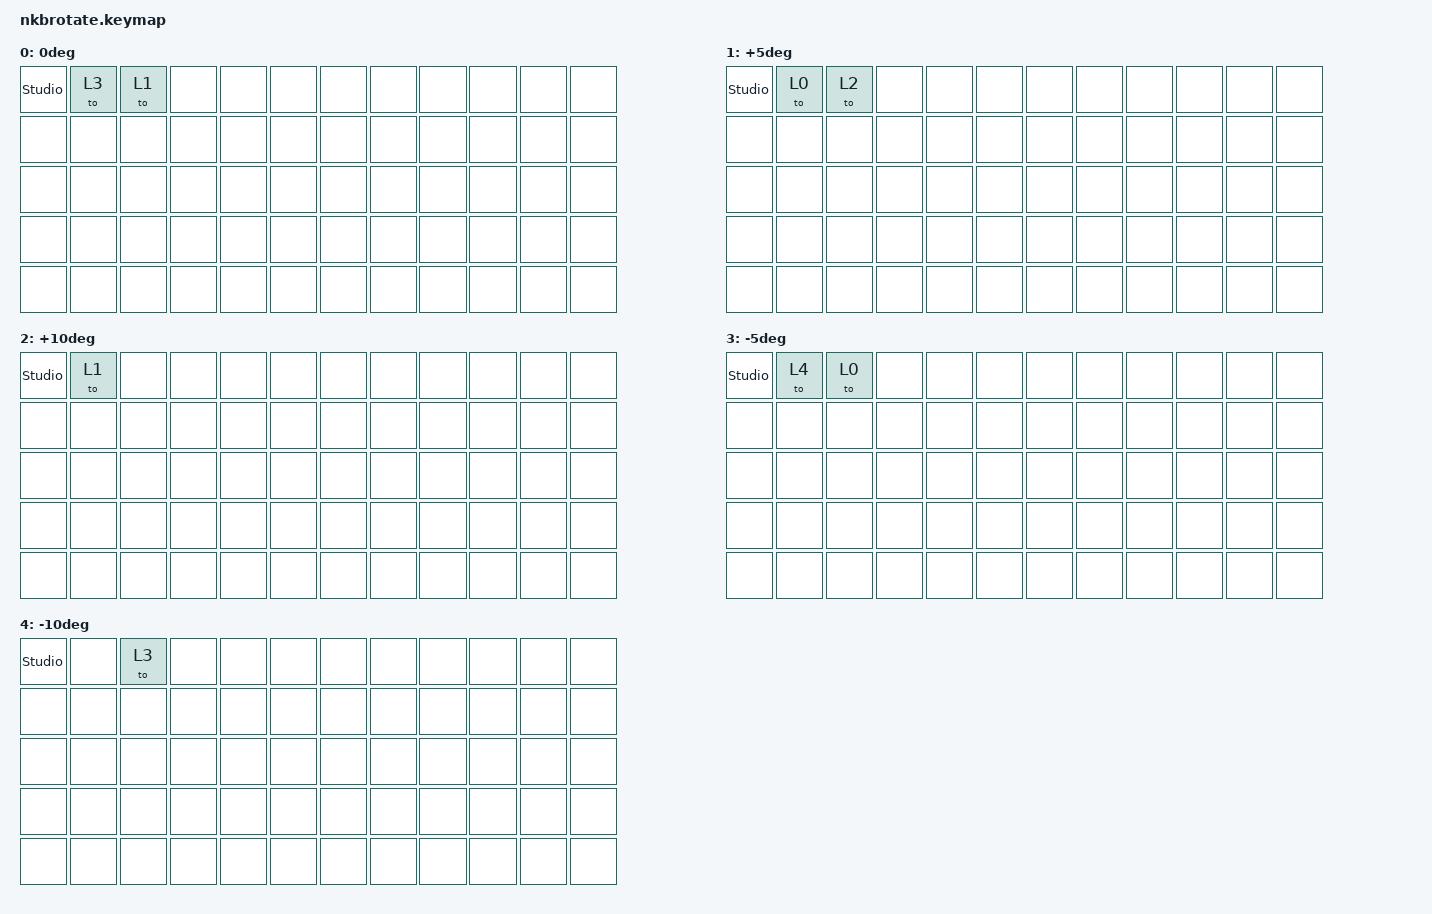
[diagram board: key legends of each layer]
/* Rotation angle presets. key0 = studio_unlock, key1 = CCW (more -), key2 = CW (more +).
   Layers: L0=0 L1=+5 L2=+10 L3=-5 L4=-10. Starts at 0. */
#include <behaviors.dtsi>
#include <dt-bindings/zmk/keys.h>

/ {
    keymap {
        compatible = "zmk,keymap";
        deg0 {
            display-name = "0deg";
            bindings = <
   &studio_unlock &to 3 &to 1 &none &none &none &none &none &none &none &none &none
   &none &none &none &none &none &none &none &none &none &none &none &none
   &none &none &none &none &none &none &none &none &none &none &none &none
   &none &none &none &none &none &none &none &none &none &none &none &none
   &none &none &none &none &none &none &none &none &none &none &none &none
            >;
        };
        degp5 {
            display-name = "+5deg";
            bindings = <
   &studio_unlock &to 0 &to 2 &none &none &none &none &none &none &none &none &none
   &none &none &none &none &none &none &none &none &none &none &none &none
   &none &none &none &none &none &none &none &none &none &none &none &none
   &none &none &none &none &none &none &none &none &none &none &none &none
   &none &none &none &none &none &none &none &none &none &none &none &none
            >;
        };
        degp10 {
            display-name = "+10deg";
            bindings = <
   &studio_unlock &to 1 &none &none &none &none &none &none &none &none &none &none
   &none &none &none &none &none &none &none &none &none &none &none &none
   &none &none &none &none &none &none &none &none &none &none &none &none
   &none &none &none &none &none &none &none &none &none &none &none &none
   &none &none &none &none &none &none &none &none &none &none &none &none
            >;
        };
        degm5 {
            display-name = "-5deg";
            bindings = <
   &studio_unlock &to 4 &to 0 &none &none &none &none &none &none &none &none &none
   &none &none &none &none &none &none &none &none &none &none &none &none
   &none &none &none &none &none &none &none &none &none &none &none &none
   &none &none &none &none &none &none &none &none &none &none &none &none
   &none &none &none &none &none &none &none &none &none &none &none &none
            >;
        };
        degm10 {
            display-name = "-10deg";
            bindings = <
   &studio_unlock &none &to 3 &none &none &none &none &none &none &none &none &none
   &none &none &none &none &none &none &none &none &none &none &none &none
   &none &none &none &none &none &none &none &none &none &none &none &none
   &none &none &none &none &none &none &none &none &none &none &none &none
   &none &none &none &none &none &none &none &none &none &none &none &none
            >;
        };
    };
};
